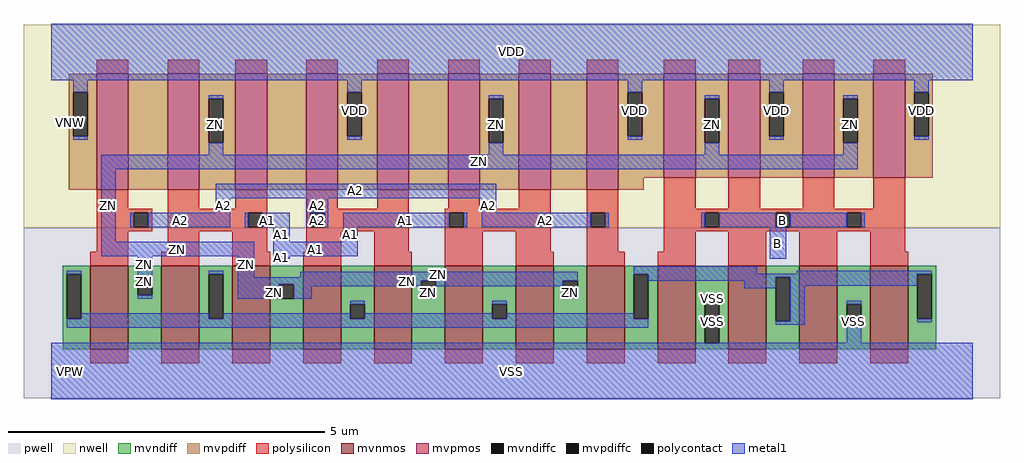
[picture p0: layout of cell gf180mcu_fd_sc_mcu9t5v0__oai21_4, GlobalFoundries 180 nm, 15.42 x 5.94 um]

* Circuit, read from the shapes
.subckt gf180mcu_fd_sc_mcu9t5v0__oai21_4 A1 A2 B ZN VDD VNW VPW VSS
XM1 ZN A2 n1 VPW nfet_06v0 w=1.32u l=0.6u m=4
XM2 n1 A1 ZN VPW nfet_06v0 w=1.32u l=0.6u m=4
XM3 VSS B n1 VPW nfet_06v0 w=1.32u l=0.6u m=4
XM4 n2 A2 VDD VNW pfet_06v0 w=1.83u l=0.5u
XM5 ZN A1 n2 VNW pfet_06v0 w=1.83u l=0.5u
XM6 n3 A1 ZN VNW pfet_06v0 w=1.83u l=0.5u
XM7 VDD A2 n3 VNW pfet_06v0 w=1.83u l=0.5u
XM8 n4 A2 VDD VNW pfet_06v0 w=1.83u l=0.5u
XM9 ZN A1 n4 VNW pfet_06v0 w=1.83u l=0.5u
XM10 n5 A1 ZN VNW pfet_06v0 w=1.83u l=0.5u
XM11 VDD A2 n5 VNW pfet_06v0 w=1.83u l=0.5u
XM12 ZN B VDD VNW pfet_06v0 w=1.645u l=0.5u m=4
.ends

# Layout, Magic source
magic
tech gf180mcuD
magscale 1 10
<< nwell >>
rect -86 453 2998 1094
<< pwell >>
rect -86 -86 2998 453
<< mvnmos >>
rect 124 69 244 333
rect 348 69 468 333
rect 572 69 692 333
rect 796 69 916 333
rect 1020 69 1140 333
rect 1244 69 1364 333
rect 1468 69 1588 333
rect 1692 69 1812 333
rect 1916 69 2036 333
rect 2140 69 2260 333
rect 2364 69 2484 333
rect 2588 69 2708 333
<< mvpmos >>
rect 144 573 244 939
rect 368 573 468 939
rect 582 573 682 939
rect 806 573 906 939
rect 1030 573 1130 939
rect 1254 573 1354 939
rect 1478 573 1578 939
rect 1692 573 1792 939
rect 1936 610 2036 939
rect 2140 610 2240 939
rect 2374 610 2474 939
rect 2598 610 2698 939
<< mvndiff >>
rect 36 305 124 333
rect 36 165 49 305
rect 95 165 124 305
rect 36 69 124 165
rect 244 285 348 333
rect 244 239 273 285
rect 319 239 348 285
rect 244 69 348 239
rect 468 305 572 333
rect 468 165 497 305
rect 543 165 572 305
rect 468 69 572 165
rect 692 274 796 333
rect 692 228 721 274
rect 767 228 796 274
rect 692 69 796 228
rect 916 211 1020 333
rect 916 165 945 211
rect 991 165 1020 211
rect 916 69 1020 165
rect 1140 285 1244 333
rect 1140 239 1169 285
rect 1215 239 1244 285
rect 1140 69 1244 239
rect 1364 211 1468 333
rect 1364 165 1393 211
rect 1439 165 1468 211
rect 1364 69 1468 165
rect 1588 285 1692 333
rect 1588 239 1617 285
rect 1663 239 1692 285
rect 1588 69 1692 239
rect 1812 305 1916 333
rect 1812 165 1841 305
rect 1887 165 1916 305
rect 1812 69 1916 165
rect 2036 228 2140 333
rect 2036 88 2065 228
rect 2111 88 2140 228
rect 2036 69 2140 88
rect 2260 297 2364 333
rect 2260 157 2289 297
rect 2335 157 2364 297
rect 2260 69 2364 157
rect 2484 211 2588 333
rect 2484 165 2513 211
rect 2559 165 2588 211
rect 2484 69 2588 165
rect 2708 305 2796 333
rect 2708 165 2737 305
rect 2783 165 2796 305
rect 2708 69 2796 165
<< mvpdiff >>
rect 56 881 144 939
rect 56 741 69 881
rect 115 741 144 881
rect 56 573 144 741
rect 244 573 368 939
rect 468 861 582 939
rect 468 721 497 861
rect 543 721 582 861
rect 468 573 582 721
rect 682 573 806 939
rect 906 881 1030 939
rect 906 741 935 881
rect 981 741 1030 881
rect 906 573 1030 741
rect 1130 573 1254 939
rect 1354 861 1478 939
rect 1354 721 1383 861
rect 1429 721 1478 861
rect 1354 573 1478 721
rect 1578 573 1692 939
rect 1792 881 1936 939
rect 1792 741 1821 881
rect 1867 741 1936 881
rect 1792 610 1936 741
rect 2036 861 2140 939
rect 2036 721 2065 861
rect 2111 721 2140 861
rect 2036 610 2140 721
rect 2240 881 2374 939
rect 2240 741 2269 881
rect 2315 741 2374 881
rect 2240 610 2374 741
rect 2474 861 2598 939
rect 2474 721 2503 861
rect 2549 721 2598 861
rect 2474 610 2598 721
rect 2698 881 2786 939
rect 2698 741 2727 881
rect 2773 741 2786 881
rect 2698 610 2786 741
rect 1792 573 1872 610
<< mvndiffc >>
rect 49 165 95 305
rect 273 239 319 285
rect 497 165 543 305
rect 721 228 767 274
rect 945 165 991 211
rect 1169 239 1215 285
rect 1393 165 1439 211
rect 1617 239 1663 285
rect 1841 165 1887 305
rect 2065 88 2111 228
rect 2289 157 2335 297
rect 2513 165 2559 211
rect 2737 165 2783 305
<< mvpdiffc >>
rect 69 741 115 881
rect 497 721 543 861
rect 935 741 981 881
rect 1383 721 1429 861
rect 1821 741 1867 881
rect 2065 721 2111 861
rect 2269 741 2315 881
rect 2503 721 2549 861
rect 2727 741 2773 881
<< polysilicon >>
rect 144 939 244 983
rect 368 939 468 983
rect 582 939 682 983
rect 806 939 906 983
rect 1030 939 1130 983
rect 1254 939 1354 983
rect 1478 939 1578 983
rect 1692 939 1792 983
rect 1936 939 2036 983
rect 2140 939 2240 983
rect 2374 939 2474 983
rect 2598 939 2698 983
rect 144 513 244 573
rect 368 513 468 573
rect 582 513 682 573
rect 144 500 320 513
rect 144 454 261 500
rect 307 454 320 500
rect 144 441 320 454
rect 368 500 682 513
rect 368 454 623 500
rect 669 454 682 500
rect 368 441 682 454
rect 144 377 244 441
rect 368 377 468 441
rect 124 333 244 377
rect 348 333 468 377
rect 572 377 682 441
rect 806 513 906 573
rect 1030 513 1130 573
rect 1254 513 1354 573
rect 1478 513 1578 573
rect 806 500 1130 513
rect 806 454 819 500
rect 865 454 1130 500
rect 806 441 1130 454
rect 806 377 916 441
rect 572 333 692 377
rect 796 333 916 377
rect 1020 377 1130 441
rect 1244 500 1578 513
rect 1244 454 1257 500
rect 1303 454 1578 500
rect 1244 441 1578 454
rect 1020 333 1140 377
rect 1244 333 1364 441
rect 1468 377 1578 441
rect 1692 500 1792 573
rect 1692 454 1705 500
rect 1751 454 1792 500
rect 1692 377 1792 454
rect 1936 513 2036 610
rect 2140 513 2240 610
rect 2374 513 2474 610
rect 2598 513 2698 610
rect 1936 500 2698 513
rect 1936 454 2065 500
rect 2111 454 2289 500
rect 2335 454 2513 500
rect 2559 454 2698 500
rect 1936 441 2698 454
rect 1936 377 2036 441
rect 1468 333 1588 377
rect 1692 333 1812 377
rect 1916 333 2036 377
rect 2140 333 2260 441
rect 2364 333 2484 441
rect 2588 377 2698 441
rect 2588 333 2708 377
rect 124 25 244 69
rect 348 25 468 69
rect 572 25 692 69
rect 796 25 916 69
rect 1020 25 1140 69
rect 1244 25 1364 69
rect 1468 25 1588 69
rect 1692 25 1812 69
rect 1916 25 2036 69
rect 2140 25 2260 69
rect 2364 25 2484 69
rect 2588 25 2708 69
<< polycontact >>
rect 261 454 307 500
rect 623 454 669 500
rect 819 454 865 500
rect 1257 454 1303 500
rect 1705 454 1751 500
rect 2065 454 2111 500
rect 2289 454 2335 500
rect 2513 454 2559 500
<< metal1 >>
rect 0 918 2912 1098
rect 69 881 115 918
rect 935 881 981 918
rect 69 730 115 741
rect 497 861 543 872
rect 1821 881 1867 918
rect 935 730 981 741
rect 1383 861 1429 872
rect 497 684 543 721
rect 2269 881 2315 918
rect 1821 730 1867 741
rect 2065 861 2111 872
rect 1383 684 1429 721
rect 2727 881 2773 918
rect 2269 730 2315 741
rect 2503 861 2549 872
rect 2065 684 2111 721
rect 2727 730 2773 741
rect 2503 684 2549 721
rect 158 638 2549 684
rect 158 408 204 638
rect 520 546 1406 592
rect 520 500 566 546
rect 808 500 876 546
rect 1360 500 1406 546
rect 250 454 261 500
rect 307 454 566 500
rect 612 454 623 500
rect 669 454 754 500
rect 808 454 819 500
rect 865 454 876 500
rect 922 454 1257 500
rect 1303 454 1314 500
rect 1360 454 1705 500
rect 1751 454 1762 500
rect 2054 454 2065 500
rect 2111 454 2289 500
rect 2335 454 2513 500
rect 2559 454 2570 500
rect 702 408 754 454
rect 922 408 968 454
rect 158 362 642 408
rect 49 305 95 316
rect 273 285 319 362
rect 273 228 319 239
rect 497 305 543 316
rect 95 165 497 182
rect 590 296 642 362
rect 702 362 968 408
rect 702 354 754 362
rect 2270 354 2322 454
rect 787 296 1663 314
rect 590 285 1663 296
rect 590 274 1169 285
rect 590 228 721 274
rect 767 268 1169 274
rect 767 228 824 268
rect 1215 268 1617 285
rect 1169 228 1215 239
rect 1617 228 1663 239
rect 1841 308 2230 331
rect 2355 308 2783 316
rect 1841 305 2783 308
rect 945 211 991 222
rect 543 165 945 182
rect 1393 211 1439 222
rect 991 165 1393 182
rect 1439 165 1841 182
rect 1887 297 2737 305
rect 1887 285 2289 297
rect 2190 262 2289 285
rect 49 136 1887 165
rect 2065 228 2111 239
rect 0 88 2065 90
rect 2335 270 2737 297
rect 2335 157 2381 270
rect 2289 146 2381 157
rect 2513 211 2559 222
rect 2513 90 2559 165
rect 2737 154 2783 165
rect 2111 88 2912 90
rect 0 -90 2912 88
<< labels >>
flabel metal1 s 922 454 1314 500 0 FreeSans 200 0 0 0 A1
port 1 nsew default input
flabel metal1 s 520 546 1406 592 0 FreeSans 200 0 0 0 A2
port 2 nsew default input
flabel metal1 s 2054 454 2570 500 0 FreeSans 200 0 0 0 B
port 3 nsew default input
flabel metal1 s 0 918 2912 1098 0 FreeSans 200 0 0 0 VDD
port 5 nsew power bidirectional abutment
flabel metal1 s 2065 222 2111 239 0 FreeSans 200 0 0 0 VSS
port 8 nsew ground bidirectional abutment
flabel metal1 s 2503 684 2549 872 0 FreeSans 200 0 0 0 ZN
port 4 nsew default output
flabel nwell s 10 734 110 834 0 FreeSans 400 0 0 0 VNW
port 6 nsew power bidirectional
flabel pwell s 10 -50 110 50 0 FreeSans 400 0 0 0 VPW
port 7 nsew ground bidirectional
rlabel metal1 s 612 454 754 500 1 A1
port 1 nsew default input
rlabel metal1 s 922 408 968 454 1 A1
port 1 nsew default input
rlabel metal1 s 702 408 754 454 1 A1
port 1 nsew default input
rlabel metal1 s 702 362 968 408 1 A1
port 1 nsew default input
rlabel metal1 s 702 354 754 362 1 A1
port 1 nsew default input
rlabel metal1 s 1360 500 1406 546 1 A2
port 2 nsew default input
rlabel metal1 s 808 500 876 546 1 A2
port 2 nsew default input
rlabel metal1 s 520 500 566 546 1 A2
port 2 nsew default input
rlabel metal1 s 1360 454 1762 500 1 A2
port 2 nsew default input
rlabel metal1 s 808 454 876 500 1 A2
port 2 nsew default input
rlabel metal1 s 250 454 566 500 1 A2
port 2 nsew default input
rlabel metal1 s 2270 354 2322 454 1 B
port 3 nsew default input
rlabel metal1 s 2065 684 2111 872 1 ZN
port 4 nsew default output
rlabel metal1 s 1383 684 1429 872 1 ZN
port 4 nsew default output
rlabel metal1 s 497 684 543 872 1 ZN
port 4 nsew default output
rlabel metal1 s 158 638 2549 684 1 ZN
port 4 nsew default output
rlabel metal1 s 158 408 204 638 1 ZN
port 4 nsew default output
rlabel metal1 s 158 362 642 408 1 ZN
port 4 nsew default output
rlabel metal1 s 590 314 642 362 1 ZN
port 4 nsew default output
rlabel metal1 s 273 314 319 362 1 ZN
port 4 nsew default output
rlabel metal1 s 787 296 1663 314 1 ZN
port 4 nsew default output
rlabel metal1 s 590 296 642 314 1 ZN
port 4 nsew default output
rlabel metal1 s 273 296 319 314 1 ZN
port 4 nsew default output
rlabel metal1 s 590 268 1663 296 1 ZN
port 4 nsew default output
rlabel metal1 s 273 268 319 296 1 ZN
port 4 nsew default output
rlabel metal1 s 1617 228 1663 268 1 ZN
port 4 nsew default output
rlabel metal1 s 1169 228 1215 268 1 ZN
port 4 nsew default output
rlabel metal1 s 590 228 824 268 1 ZN
port 4 nsew default output
rlabel metal1 s 273 228 319 268 1 ZN
port 4 nsew default output
rlabel metal1 s 2727 730 2773 918 1 VDD
port 5 nsew power bidirectional abutment
rlabel metal1 s 2269 730 2315 918 1 VDD
port 5 nsew power bidirectional abutment
rlabel metal1 s 1821 730 1867 918 1 VDD
port 5 nsew power bidirectional abutment
rlabel metal1 s 935 730 981 918 1 VDD
port 5 nsew power bidirectional abutment
rlabel metal1 s 69 730 115 918 1 VDD
port 5 nsew power bidirectional abutment
rlabel metal1 s 2513 90 2559 222 1 VSS
port 8 nsew ground bidirectional abutment
rlabel metal1 s 2065 90 2111 222 1 VSS
port 8 nsew ground bidirectional abutment
rlabel metal1 s 0 -90 2912 90 1 VSS
port 8 nsew ground bidirectional abutment
<< properties >>
string FIXED_BBOX 0 0 2912 1008
string GDS_END 128626
string GDS_FILE $PDKPATH/libs.ref/gf180mcu_fd_sc_mcu9t5v0/gds/gf180mcu_fd_sc_mcu9t5v0.gds
string GDS_START 121952
string LEFclass core
string LEFsite GF018hv5v_green_sc9
string LEFsymmetry X Y
<< end >>
